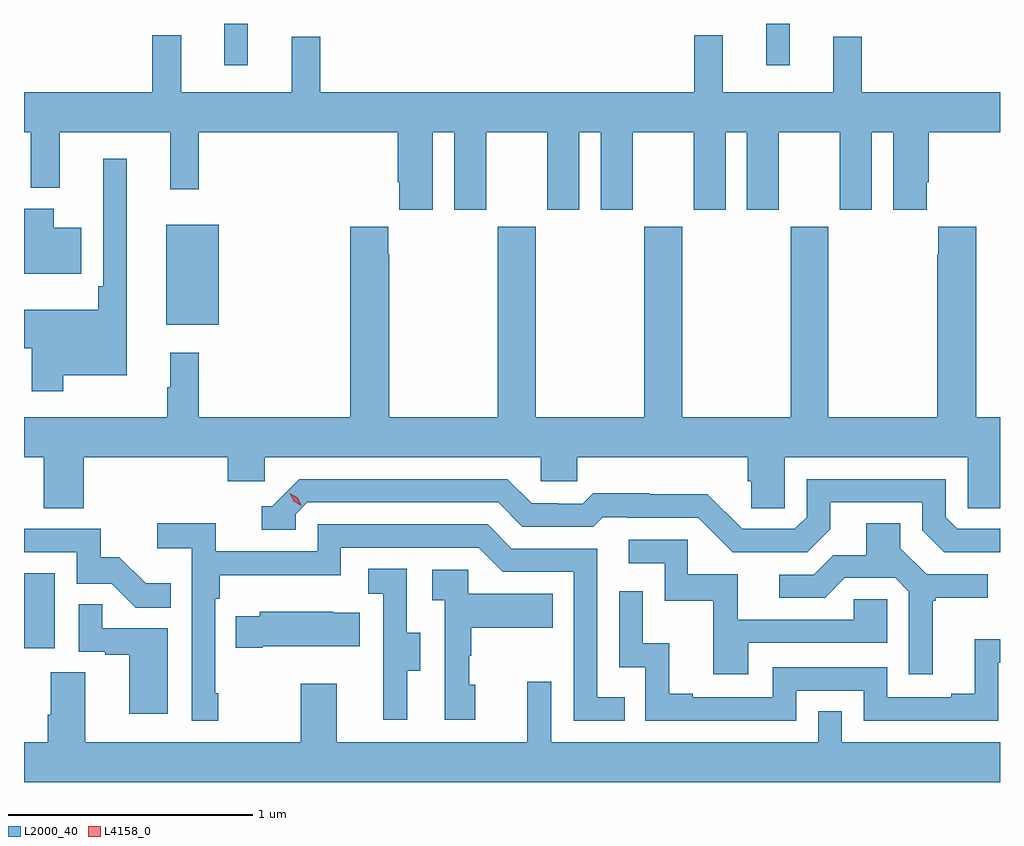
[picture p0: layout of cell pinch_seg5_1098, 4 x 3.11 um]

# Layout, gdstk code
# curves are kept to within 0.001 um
import gdstk
lib = gdstk.Library(unit=1e-6, precision=1e-09)
def R(c, l, rs):  # rectangles x0, y0, x1, y1
    for r in rs: c.add(gdstk.rectangle(r[:2], r[2:], *l))
def P(c, l, *ps):  # polygons
    for p in ps: c.add(gdstk.Polygon(p, *l))
L2000_40 = (2000, 40)
L4158_0 = (4158, 0)

pinch_seg5_1098 = lib.new_cell('pinch_seg5_1098')
R(pinch_seg5_1098, L2000_40, [(814.263,835.998,814.39,836.305), (814.847,837.323,815.062,837.733), (815.084,838.386,815.181,838.557), (817.304,838.386,817.401,838.557)])
P(pinch_seg5_1098, L2000_40, [(815.938,838.112),(816.026,838.112),(816.026,837.795),(816.157,837.795),(816.157,838.112),(816.407,838.112),(816.407,837.795),(816.538,837.795),(816.538,838.112),(816.626,838.112),(816.626,837.795),(816.757,837.795),(816.757,838.112),(817.007,838.112),(817.007,837.795),(817.138,837.795),(817.138,838.112),(817.226,838.112),(817.226,837.795),(817.357,837.795),(817.357,838.112),(817.607,838.112),(817.607,837.795),(817.738,837.795),(817.738,838.112),(817.826,838.112),(817.826,837.795),(817.963,837.795),(817.963,837.907),(817.97,837.907),(817.97,838.112),(818.263,838.112),(818.263,838.276),(817.697,838.276),(817.697,838.504),(817.58,838.504),(817.58,838.276),(817.127,838.276),(817.127,838.51),(817.009,838.51),(817.009,838.276),(815.477,838.276),(815.477,838.504),(815.36,838.504),(815.36,838.276),(814.907,838.276),(814.907,838.51),(814.789,838.51),(814.789,838.276),(814.263,838.276),(814.263,838.112),(814.291,838.112),(814.291,837.884),(814.409,837.884),(814.409,838.112),(814.862,838.112),(814.862,837.879),(814.979,837.879),(814.979,838.112),(815.795,838.112),(815.795,837.907),(815.801,837.907),(815.801,837.795),(815.938,837.795)],
  [(814.423,837.116),(814.684,837.116),(814.684,838.003),(814.587,838.003),(814.587,837.481),(814.567,837.481),(814.567,837.385),(814.263,837.385),(814.263,837.227),(814.294,837.227),(814.294,837.051),(814.423,837.051)],
  [(814.498,837.721),(814.384,837.721),(814.384,837.799),(814.263,837.799),(814.263,837.533),(814.498,837.533)],
  [(814.508,836.78),(815.099,836.78),(815.099,836.682),(815.25,836.682),(815.25,836.78),(816.381,836.78),(816.381,836.682),(816.531,836.682),(816.531,836.78),(817.229,836.78),(817.229,836.682),(817.243,836.682),(817.243,836.572),(817.38,836.572),(817.38,836.78),(818.13,836.78),(818.13,836.572),(818.263,836.572),(818.263,836.944),(818.165,836.944),(818.165,837.724),(818.009,837.724),(818.009,837.611),(818.005,837.611),(818.005,836.944),(817.56,836.944),(817.56,837.724),(817.405,837.724),(817.405,836.944),(816.96,836.944),(816.96,837.724),(816.805,837.724),(816.805,836.944),(816.36,836.944),(816.36,837.724),(816.205,837.724),(816.205,836.944),(815.76,836.944),(815.76,837.611),(815.755,837.611),(815.755,837.724),(815.6,837.724),(815.6,836.944),(814.979,836.944),(814.979,837.208),(814.862,837.208),(814.862,837.068),(814.851,837.068),(814.851,836.944),(814.263,836.944),(814.263,836.78),(814.343,836.78),(814.343,836.572),(814.508,836.572)],
  [(818.263,836.487),(818.088,836.487),(818.04,836.535),(818.04,836.691),(817.47,836.691),(817.47,836.535),(817.422,836.487),(817.206,836.487),(817.064,836.629),(816.828,836.629),(816.828,836.632),(816.595,836.632),(816.553,836.589),(816.45,836.589),(816.45,836.592),(816.343,836.592),(816.244,836.691),(815.391,836.691),(815.28,836.58),(815.237,836.58),(815.237,836.484),(815.376,836.484),(815.376,836.547),(815.424,836.595),(816.207,836.595),(816.306,836.496),(816.595,836.496),(816.634,836.535),(816.733,836.535),(816.733,836.532),(817.026,836.532),(817.167,836.391),(817.473,836.391),(817.567,836.485),(817.567,836.595),(817.944,836.595),(817.944,836.481),(818.034,836.391),(818.263,836.39)],
  [(817.987,836.193),(817.999,836.193),(817.999,836.204),(818.212,836.204),(818.212,836.301),(817.962,836.301),(817.855,836.408),(817.855,836.51),(817.715,836.51),(817.715,836.378),(817.58,836.378),(817.5,836.298),(817.359,836.298),(817.359,836.205),(817.546,836.205),(817.627,836.286),(817.833,836.286),(817.89,836.229),(817.89,835.89),(817.987,835.89)],
  [(815.059,835.813),(815.046,835.813),(815.046,836.201),(815.066,836.201),(815.066,836.297),(815.562,836.297),(815.562,836.409),(816.126,836.409),(816.225,836.31),(816.516,836.31),(816.516,835.701),(816.725,835.701),(816.725,835.797),(816.612,835.797),(816.612,836.406),(816.262,836.406),(816.163,836.505),(815.466,836.505),(815.466,836.394),(815.048,836.394),(815.048,836.51),(814.809,836.51),(814.809,836.408),(814.95,836.408),(814.95,835.701),(815.059,835.701)],
  [(814.865,836.263),(814.761,836.263),(814.654,836.37),(814.578,836.37),(814.578,836.487),(814.263,836.487),(814.263,836.391),(814.479,836.391),(814.479,836.262),(814.623,836.262),(814.721,836.164),(814.865,836.164)],
  [(817.231,836.019),(817.8,836.019),(817.8,836.199),(817.663,836.199),(817.663,836.115),(817.189,836.115),(817.189,836.301),(816.984,836.301),(816.984,836.442),(816.741,836.442),(816.741,836.346),(816.888,836.346),(816.888,836.193),(817.087,836.193),(817.087,835.89),(817.231,835.89)],
  [(815.833,835.906),(815.887,835.906),(815.887,836.061),(815.832,836.061),(815.832,836.324),(815.673,836.324),(815.673,836.221),(815.736,836.221),(815.736,835.917),(815.735,835.917),(815.735,835.704),(815.833,835.704)],
  [(816.112,835.848),(816.087,835.848),(816.087,835.967),(816.097,835.967),(816.097,836.081),(816.431,836.081),(816.431,836.221),(816.084,836.221),(816.084,836.319),(815.937,836.319),(815.937,836.195),(815.988,836.195),(815.988,835.704),(816.112,835.704)],
  [(817.428,835.824),(817.704,835.824),(817.704,835.701),(818.256,835.701),(818.256,835.937),(818.263,835.937),(818.263,836.035),(818.159,836.035),(818.159,835.81),(818.063,835.81),(818.063,835.797),(817.8,835.797),(817.8,835.92),(817.332,835.92),(817.332,835.797),(817.003,835.797),(817.003,835.81),(816.908,835.81),(816.908,836.018),(816.798,836.018),(816.798,836.23),(816.702,836.23),(816.702,835.92),(816.81,835.92),(816.81,835.701),(817.428,835.701)],
  [(814.852,836.079),(814.583,836.079),(814.583,836.177),(814.488,836.177),(814.488,835.983),(814.595,835.983),(814.595,835.971),(814.694,835.971),(814.694,835.728),(814.852,835.728)],
  [(815.242,836.006),(815.639,836.006),(815.639,836.143),(815.531,836.143),(815.531,836.146),(815.229,836.146),(815.229,836.128),(815.131,836.128),(815.131,835.999),(815.242,835.999)],
  [(818.263,835.612),(817.614,835.612),(817.614,835.739),(817.518,835.739),(817.518,835.612),(816.423,835.612),(816.423,835.861),(816.326,835.861),(816.326,835.612),(815.545,835.612),(815.545,835.852),(815.398,835.852),(815.398,835.612),(814.513,835.612),(814.513,835.898),(814.373,835.898),(814.373,835.724),(814.361,835.724),(814.361,835.612),(814.263,835.612),(814.263,835.448),(818.263,835.448)])
P(pinch_seg5_1098, L4158_0, [(815.4,836.581),(815.369,836.6),(815.352,836.633),(815.352,836.633),(815.353,836.633),(815.384,836.614),(815.4,836.581),(815.4,836.581)])

lib.write_gds('pinch_seg5_1098.gds')
